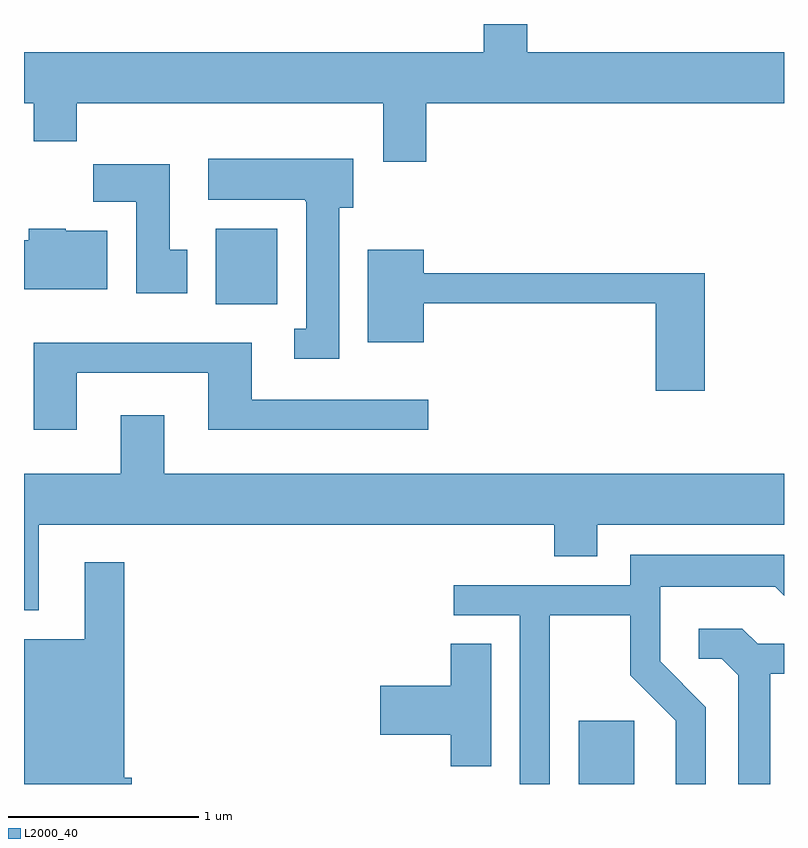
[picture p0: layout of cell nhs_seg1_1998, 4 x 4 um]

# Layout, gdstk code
import gdstk
lib = gdstk.Library(unit=1e-6, precision=1e-09)
def R(c, l, rs):  # rectangles x0, y0, x1, y1
    for r in rs: c.add(gdstk.rectangle(r[:2], r[2:], *l))
def P(c, l, *ps):  # polygons
    for p in ps: c.add(gdstk.Polygon(p, *l))
L2000_40 = (2000, 40)

nhs_seg1_1998 = lib.new_cell('nhs_seg1_1998')
R(nhs_seg1_1998, L2000_40, [(248.531,953.712,248.824,954.044), (246.621,956.236,246.944,956.634)])
P(nhs_seg1_1998, L2000_40, [(247.729,957.296),(249.611,957.296),(249.611,957.564),(248.259,957.564),(248.259,957.712),(248.031,957.712),(248.031,957.564),(245.611,957.564),(245.611,957.296),(245.661,957.296),(245.661,957.096),(245.889,957.096),(245.889,957.296),(247.501,957.296),(247.501,956.986),(247.729,956.986)],
  [(247.269,956.746),(247.344,956.746),(247.344,957.004),(246.581,957.004),(246.581,956.786),(247.09,956.786),(247.09,956.78),(247.096,956.78),(247.096,956.109),(247.033,956.109),(247.033,955.951),(247.269,955.951)],
  [(246.469,956.524),(246.379,956.524),(246.379,956.974),(245.976,956.974),(245.976,956.776),(246.201,956.776),(246.201,956.296),(246.469,956.296)],
  [(246.049,956.624),(245.83,956.624),(245.83,956.634),(245.636,956.634),(245.636,956.574),(245.611,956.574),(245.611,956.316),(246.049,956.316)],
  [(249.194,956.399),(247.714,956.399),(247.714,956.524),(247.421,956.524),(247.421,956.036),(247.714,956.036),(247.714,956.241),(248.936,956.241),(248.936,955.781),(249.194,955.781)],
  [(245.889,955.876),(246.581,955.876),(246.581,955.576),(247.738,955.576),(247.738,955.734),(246.809,955.734),(246.809,956.034),(245.661,956.034),(245.661,955.576),(245.889,955.576)],
  [(245.689,955.076),(248.401,955.076),(248.401,954.911),(248.629,954.911),(248.629,955.076),(249.611,955.076),(249.611,955.344),(246.349,955.344),(246.349,955.654),(246.121,955.654),(246.121,955.344),(245.611,955.344),(245.611,954.626),(245.689,954.626)],
  [(248.379,954.601),(248.801,954.601),(248.801,954.284),(249.041,954.044),(249.041,953.712),(249.199,953.712),(249.199,954.117),(248.959,954.357),(248.959,954.751),(249.564,954.751),(249.611,954.704),(249.611,954.919),(248.801,954.919),(248.801,954.759),(247.873,954.759),(247.873,954.601),(248.221,954.601),(248.221,953.712),(248.379,953.712)],
  [(246.179,953.744),(246.139,953.744),(246.139,954.879),(245.931,954.879),(245.931,954.474),(245.611,954.474),(245.611,953.712),(246.179,953.712)],
  [(249.539,954.291),(249.611,954.291),(249.611,954.449),(249.472,954.449),(249.392,954.529),(249.163,954.529),(249.163,954.371),(249.284,954.371),(249.371,954.284),(249.371,953.712),(249.539,953.712)],
  [(248.069,954.449),(247.856,954.449),(247.856,954.229),(247.486,954.229),(247.486,953.971),(247.856,953.971),(247.856,953.806),(248.069,953.806)])

lib.write_gds('nhs_seg1_1998.gds')
